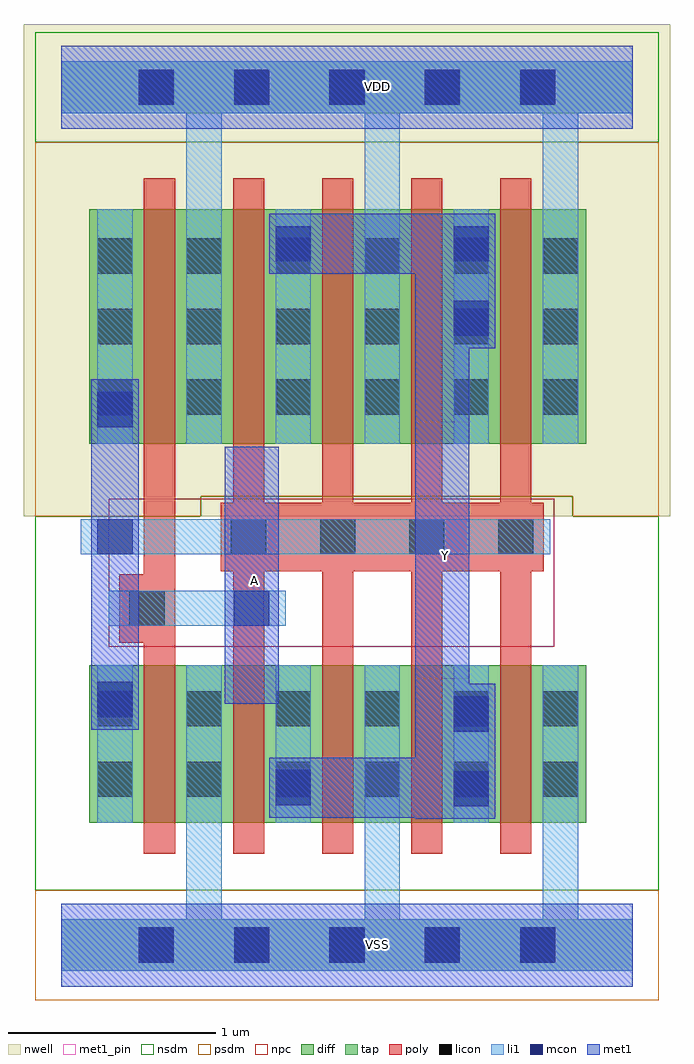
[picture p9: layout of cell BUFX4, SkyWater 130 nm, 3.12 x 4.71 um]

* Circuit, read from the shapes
.subckt BUFX4 A VDD VSS Y
XM1 VSS A n1 VSS sky130_fd_pr__nfet_01v8 w=0.76 l=0.15
XM2 Y n1 VSS VSS sky130_fd_pr__nfet_01v8 w=0.76 l=0.15 m=4
XM3 VDD A n1 VDD sky130_fd_pr__pfet_01v8 w=1.13 l=0.15
XM4 Y n1 VDD VDD sky130_fd_pr__pfet_01v8 w=1.13 l=0.15 m=4
.ends

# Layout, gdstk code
from math import pi, radians
import gdstk
lib = gdstk.Library(unit=1e-6, precision=1e-09)
def R(c, l, rs):  # rectangles x0, y0, x1, y1
    for r in rs: c.add(gdstk.rectangle(r[:2], r[2:], *l))
def A(c, l, x, y, w, h, nx, ny, dx, dy):  # array of equal rectangles
    R(c, l, [(x+i*dx, y+j*dy, x+i*dx+w, y+j*dy+h) for i in range(nx) for j in range(ny)])
def P(c, l, *ps):  # polygons
    for p in ps: c.add(gdstk.Polygon(p, *l))
nwell = (64, 20)
diff = (65, 20)
tap = (65, 44)
poly = (66, 20)
licon = (66, 44)
li1 = (67, 20)
mcon = (67, 44)
met1_pin = (68, 16)
met1 = (68, 20)
nsdm = (93, 44)
psdm = (94, 20)
npc = (95, 20)

nfet_01v8_cdns_716492285 = lib.new_cell('nfet_01v8_CDNS_71649228522214')
A(nfet_01v8_cdns_716492285, diff, 0, 0, 0.15, 0.76, 4, 1, 0.43, 0)
A(nfet_01v8_cdns_716492285, diff, 0.15, 0, 0.28, 0.76, 3, 1, 0.43, 0)
R(nfet_01v8_cdns_716492285, diff, [(-0.055,0,0,0.76), (1.44,0,1.705,0.76)])
A(nfet_01v8_cdns_716492285, poly, 0, -0.15, 0.15, 0.055, 4, 2, 0.43, 1.005)
A(nfet_01v8_cdns_716492285, poly, 0, -0.095, 0.15, 0.095, 4, 2, 0.43, 0.855)
A(nfet_01v8_cdns_716492285, poly, 0, 0, 0.15, 0.76, 4, 1, 0.43, 0)
A(nfet_01v8_cdns_716492285, licon, 0.205, 0.125, 0.17, 0.17, 4, 2, 0.43, 0.34)
A(nfet_01v8_cdns_716492285, li1, 0.205, 0, 0.17, 0.76, 4, 1, 0.43, 0)
R(nfet_01v8_cdns_716492285, nsdm, [(-0.065,-0.13,1.845,0.89)])

pfet_01v8_cdns_716492285 = lib.new_cell('pfet_01v8_CDNS_7164922852212')
R(pfet_01v8_cdns_716492285, nwell, [(-0.405,-0.18,0.595,1.31)])
R(pfet_01v8_cdns_716492285, diff, [(-0.225,0,0,1.13), (0,0,0.15,1.13), (0.15,0,0.415,1.13)])
R(pfet_01v8_cdns_716492285, poly, [(0,-0.15,0.15,-0.095), (0,-0.095,0.15,0), (0,0,0.15,1.13), (0,1.13,0.15,1.225), (0,1.225,0.15,1.28)])
A(pfet_01v8_cdns_716492285, licon, -0.225, 0.14, 0.17, 0.17, 1, 3, 0, 0.34)
A(pfet_01v8_cdns_716492285, licon, 0.205, 0.14, 0.17, 0.17, 1, 3, 0, 0.34)
R(pfet_01v8_cdns_716492285, li1, [(-0.225,0,-0.055,1.13), (0.205,0,0.375,1.13)])
R(pfet_01v8_cdns_716492285, psdm, [(-0.235,-0.13,0.555,1.26)])

c_nfet_01v8_cdns_716492285 = lib.new_cell('nfet_01v8_CDNS_71649228522156')
R(c_nfet_01v8_cdns_716492285, diff, [(-0.265,0,0,0.76), (0,0,0.15,0.76), (0.15,0,0.375,0.76)])
R(c_nfet_01v8_cdns_716492285, poly, [(0,-0.15,0.15,-0.095), (0,-0.095,0.15,0), (0,0,0.15,0.76), (0,0.76,0.15,0.855), (0,0.855,0.15,0.91)])
R(c_nfet_01v8_cdns_716492285, licon, [(-0.225,0.125,-0.055,0.295), (0.205,0.125,0.375,0.295), (-0.225,0.465,-0.055,0.635), (0.205,0.465,0.375,0.635)])
R(c_nfet_01v8_cdns_716492285, li1, [(-0.225,0,-0.055,0.76), (0.205,0,0.375,0.76)])
R(c_nfet_01v8_cdns_716492285, nsdm, [(-0.405,-0.13,0.385,0.89)])

c_pfet_01v8_cdns_716492285 = lib.new_cell('pfet_01v8_CDNS_71649228522155')
R(c_pfet_01v8_cdns_716492285, nwell, [(-0.235,-0.18,1.885,1.31)])
A(c_pfet_01v8_cdns_716492285, diff, 0, 0, 0.15, 1.13, 4, 1, 0.43, 0)
A(c_pfet_01v8_cdns_716492285, diff, 0.15, 0, 0.28, 1.13, 3, 1, 0.43, 0)
R(c_pfet_01v8_cdns_716492285, diff, [(-0.055,0,0,1.13), (1.44,0,1.705,1.13)])
A(c_pfet_01v8_cdns_716492285, poly, 0, -0.15, 0.15, 0.055, 4, 2, 0.43, 1.375)
A(c_pfet_01v8_cdns_716492285, poly, 0, -0.095, 0.15, 0.095, 4, 2, 0.43, 1.225)
A(c_pfet_01v8_cdns_716492285, poly, 0, 0, 0.15, 1.13, 4, 1, 0.43, 0)
A(c_pfet_01v8_cdns_716492285, licon, 0.205, 0.14, 0.17, 0.17, 4, 3, 0.43, 0.34)
A(c_pfet_01v8_cdns_716492285, li1, 0.205, 0, 0.17, 1.13, 4, 1, 0.43, 0)
R(c_pfet_01v8_cdns_716492285, psdm, [(-0.065,-0.13,1.845,1.26)])

l1m1_c_cdns_716492285225 = lib.new_cell('L1M1_C_CDNS_716492285225')
R(l1m1_c_cdns_716492285225, li1, [(-0.085,-0.345,0.085,0.345)])
R(l1m1_c_cdns_716492285225, mcon, [(-0.085,-0.265,0.085,-0.095), (-0.085,0.095,0.085,0.265)])
R(l1m1_c_cdns_716492285225, met1, [(-0.115,-0.325,0.115,0.325)])

pyl1con_c_cdns_716492285 = lib.new_cell('PYL1CON_C_CDNS_716492285220')
R(pyl1con_c_cdns_716492285, poly, [(-0.135,-0.165,0.135,0.165)])
R(pyl1con_c_cdns_716492285, licon, [(-0.085,-0.085,0.085,0.085)])
R(pyl1con_c_cdns_716492285, npc, [(-0.185,-0.185,0.185,0.185)])

l1m1_c_cdns_716492285222 = lib.new_cell('L1M1_C_CDNS_716492285222')
R(l1m1_c_cdns_716492285222, li1, [(-0.085,-0.165,0.085,0.165)])
R(l1m1_c_cdns_716492285222, mcon, [(-0.085,-0.085,0.085,0.085)])
R(l1m1_c_cdns_716492285222, met1, [(-0.115,-0.145,0.115,0.145)])

l1m1_c_cdns_716492285223 = lib.new_cell('L1M1_C_CDNS_716492285223')
R(l1m1_c_cdns_716492285223, li1, [(-0.165,-0.085,0.165,0.085)])
R(l1m1_c_cdns_716492285223, mcon, [(-0.085,-0.085,0.085,0.085)])
R(l1m1_c_cdns_716492285223, met1, [(-0.115,-0.145,0.115,0.145)])

bufx4 = lib.new_cell('BUFX4')
R(bufx4, nwell, [(-0.18,2.07,2.94,4.305), (-0.18,3.875,2.94,4.445)])
A(bufx4, poly, 0.83, 1.44, 0.15, 0.885, 3, 1, 0.43, 0)
R(bufx4, poly, [(2.12,1.445,2.27,2.325), (0.4,1.5,0.55,2.325), (0.77,1.805,2.33,2.135)])
A(bufx4, licon, 0.375, -0.085, 0.17, 0.17, 5, 2, 0.46, 4.14)
A(bufx4, li1, 0.605, 3.55, 0.17, 0.67, 3, 1, 0.86, 0)
R(bufx4, li1, [(0.605,-0.085,0.775,0.945), (1.465,-0.085,1.635,1.155), (2.325,-0.085,2.495,0.945)])
A(bufx4, mcon, 0.375, -0.085, 0.17, 0.17, 5, 2, 0.46, 4.14)
R(bufx4, met1_pin, [(0.79,1.165,1.05,2.405), (1.71,1.285,1.97,2.525)])
R(bufx4, nsdm, [(-0.125,3.875,2.885,4.405), (-0.125,3.93,2.885,4.35)])
P(bufx4, nsdm, [(2.885,2.07),(2.47,2.07),(2.47,2.165),(0.675,2.165),(0.675,2.07),(-0.125,2.07),(-0.125,0.265),(2.885,0.265)])
R(bufx4, psdm, [(-0.125,-0.265,2.885,0.265), (-0.125,-0.21,2.885,0.21)])
P(bufx4, psdm, [(2.885,3.875),(-0.125,3.875),(-0.125,2.07),(0.675,2.07),(0.675,2.165),(2.47,2.165),(2.47,2.07),(2.885,2.07)])
R(bufx4, npc, [(0.23,1.44,2.38,2.155)])
bufx4.add(gdstk.FlexPath([(0.26,1.97),(2.36,1.97)], 0.17, ends="flush", simple_path=True, layer=67, datatype=20))  # li1
bufx4.add(gdstk.FlexPath([(0.855,1.625),(0.23,1.625)], 0.17, ends="flush", simple_path=True, layer=67, datatype=20))  # li1
bufx4.add(gdstk.FlexPath([(2.675,0),(0,0)], 0.25, ends=(0.085, 0), simple_path=True, layer=67, datatype=20))  # li1
bufx4.add(gdstk.FlexPath([(2.675,4.14),(0,4.14)], 0.25, ends=(0.085, 0), simple_path=True, layer=67, datatype=20))  # li1
bufx4.add(gdstk.FlexPath([(0,4.14),(2.76,4.14)], 0.4, ends="flush", simple_path=True, layer=68, datatype=16))  # met1_pin
bufx4.add(gdstk.FlexPath([(0,0),(2.76,0)], 0.4, ends="flush", simple_path=True, layer=68, datatype=16))  # met1_pin
bufx4.add(gdstk.FlexPath([(1.84,3.53),(1.84,0.61)], 0.26, ends="flush", simple_path=True, layer=68, datatype=20))  # met1
bufx4.add(gdstk.FlexPath([(0.92,1.165),(0.92,2.405)], 0.26, ends="flush", simple_path=True, layer=68, datatype=20))  # met1
bufx4.add(gdstk.FlexPath([(1.84,3.385),(1.12,3.385)], 0.29, ends="flush", simple_path=True, layer=68, datatype=20))  # met1
bufx4.add(gdstk.FlexPath([(0.26,1.185),(0.26,2.73)], 0.23, ends=(0.115, 0), simple_path=True, layer=68, datatype=20))  # met1
bufx4.add(gdstk.FlexPath([(1.84,0.76),(1.12,0.76)], 0.29, ends="flush", simple_path=True, layer=68, datatype=20))  # met1
bufx4.add(gdstk.FlexPath([(0,4.14),(2.76,4.14)], 0.4, ends="flush", simple_path=True, layer=68, datatype=20))  # met1
bufx4.add(gdstk.FlexPath([(0,0),(2.76,0)], 0.4, ends="flush", simple_path=True, layer=68, datatype=20))  # met1
bufx4.add(gdstk.FlexPath([(0,4.14),(2.76,4.14)], 0.25, ends="flush", simple_path=True, layer=65, datatype=44))  # tap
bufx4.add(gdstk.FlexPath([(0,0),(2.76,0)], 0.25, ends="flush", simple_path=True, layer=65, datatype=44))  # tap
bufx4.add(gdstk.Reference(nfet_01v8_cdns_716492285, (0.83,0.59)))
bufx4.add(gdstk.Reference(pfet_01v8_cdns_716492285, (0.55,2.42), rotation=pi, x_reflection=True))
bufx4.add(gdstk.Reference(c_nfet_01v8_cdns_716492285, (0.4,0.59)))
bufx4.add(gdstk.Reference(c_pfet_01v8_cdns_716492285, (0.83,2.42)))
bufx4.add(gdstk.Reference(l1m1_c_cdns_716492285225, (1.98,0.935)))
bufx4.add(gdstk.Reference(l1m1_c_cdns_716492285225, (1.98,3.205)))
bufx4.add(gdstk.Reference(pyl1con_c_cdns_716492285, (2.195,1.97), x_reflection=True))
bufx4.add(gdstk.Reference(pyl1con_c_cdns_716492285, (1.765,1.97), x_reflection=True))
bufx4.add(gdstk.Reference(pyl1con_c_cdns_716492285, (0.415,1.625), x_reflection=True))
bufx4.add(gdstk.Reference(pyl1con_c_cdns_716492285, (0.905,1.97), x_reflection=True))
bufx4.add(gdstk.Reference(pyl1con_c_cdns_716492285, (1.335,1.97), x_reflection=True))
bufx4.add(gdstk.Reference(l1m1_c_cdns_716492285222, (1.12,3.385)))
bufx4.add(gdstk.Reference(l1m1_c_cdns_716492285222, (1.12,0.76)))
bufx4.add(gdstk.Reference(l1m1_c_cdns_716492285222, (0.26,2.585)))
bufx4.add(gdstk.Reference(l1m1_c_cdns_716492285222, (0.26,1.185)))
bufx4.add(gdstk.Reference(l1m1_c_cdns_716492285223, (0.26,1.97)))
bufx4.add(gdstk.Reference(l1m1_c_cdns_716492285223, (0.92,1.625), x_reflection=True))
bufx4.add(gdstk.Label('VDD', (1.525,4.145), layer=68, texttype=5))
bufx4.add(gdstk.Label('A', (0.935,1.76), layer=68, texttype=5))
bufx4.add(gdstk.Label('Y', (1.855,1.88), layer=68, texttype=5))
bufx4.add(gdstk.Label('VSS', (1.525,0.005), layer=68, texttype=5))

lib.write_gds('BUFX4.gds')
